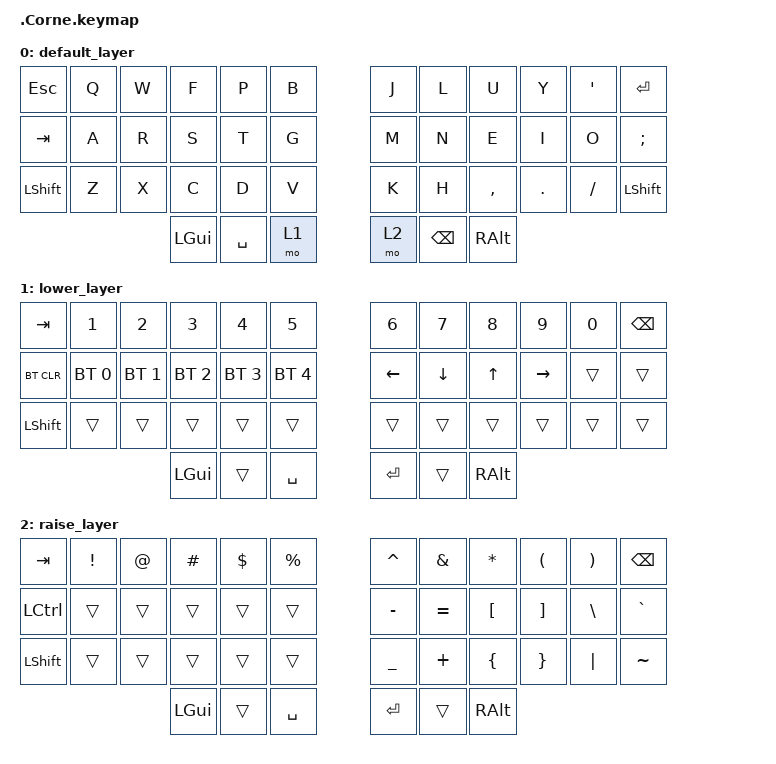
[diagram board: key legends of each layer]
/*
 * Copyright (c) 2020 The ZMK Contributors
 *
 * SPDX-License-Identifier: MIT
 */

#include <behaviors.dtsi>
#include <dt-bindings/zmk/keys.h>
#include <dt-bindings/zmk/bt.h>
#include <dt-bindings/zmk/behaviors.h>

/ {
        keymap {
                compatible = "zmk,keymap";

                default_layer {
// -----------------------------------------------------------------------------------------
// |  TAB |   Q    |   W    |   F    |   P    |  B  |   |  J  |   L     |   U    |   Y    |   '    | BSPC |
// | CTRL |   A    |   R    |   S    |   T    |  G  |   |  M  |   N     |   E    |   I    |   O    |  ;   |
// | SHFT |  G(Z)  |  A(X)  |  C(C)  |  S(D)  |  V  |   |  K  |  S(H)   |  C(,)  |  A(.)  |  G(/)  | ESC  |
//                                | GUI | SPC | LWR |   | RSE | BSPC  | ALT |
                        bindings = <
   &kp ESC   &kp Q  &kp W  &kp F  &kp P  &kp B   &kp J &kp L   &kp U      &kp Y    &kp SQT   &kp ENTER
   &kp TAB   &kp A  &kp R  &kp S  &kp T  &kp G   &kp M &kp N   &kp E      &kp I    &kp O     &kp SEMI
   &kp LSHFT &kp Z  &kp X  &kp C  &kp D  &kp V   &kp K &kp H   &kp COMMA  &kp DOT  &kp FSLH  &kp LSHFT
                      &kp LGUI &kp SPACE &mo 1   &mo 2 &kp BSPC &kp RALT
                        >;
                };
                lower_layer {
// -----------------------------------------------------------------------------------------
// |  TAB |  1  |  2  |  3  |  4  |  5  |   |  6  |  7  |  8  |  9  |  0  | BSPC |
// | BTCLR| BT1 | BT2 | BT3 | BT4 | BT5 |   | LFT | DWN |  UP | RGT |     |      |
// | SHFT |     |     |     |     |     |   |     |     |     |     |     |      |
//                    | GUI |     | SPC |   | ENT |     | ALT |
                        bindings = <
   &kp TAB    &kp N1       &kp N2       &kp N3       &kp N4       &kp N5         &kp N6   &kp N7   &kp N8 &kp N9    &kp N0 &kp BSPC
   &bt BT_CLR &bt BT_SEL 0 &bt BT_SEL 1 &bt BT_SEL 2 &bt BT_SEL 3 &bt BT_SEL 4   &kp LEFT &kp DOWN &kp UP &kp RIGHT &trans &trans
   &kp LSHFT  &trans       &trans       &trans       &trans       &trans         &trans   &trans   &trans &trans    &trans &trans
                                    &kp LGUI     &trans       &kp SPACE      &kp RET  &trans   &kp RALT
                        >;
                };

                raise_layer {
// -----------------------------------------------------------------------------------------
// |  TAB |  !  |  @  |  #  |  $  |  %  |   |  ^  |  &  |  *  |  (  |  )  | BSPC |
// | CTRL |     |     |     |     |     |   |  -  |  =  |  [  |  ]  |  \  |  `   |
// | SHFT |     |     |     |     |     |   |  _  |  +  |  {  |  }  | "|" |  ~   |
//                    | GUI |     | SPC |   | ENT |     | ALT |
                        bindings = <
   &kp  TAB  &kp EXCL &kp AT &kp HASH &kp DLLR &kp PRCNT   &kp CARET &kp AMPS  &kp ASTRK &kp LPAR &kp RPAR &kp BSPC
   &kp LCTRL &trans   &trans &trans   &trans   &trans      &kp MINUS &kp EQUAL &kp LBKT  &kp RBKT &kp BSLH &kp GRAVE
   &kp LSHFT &trans   &trans &trans   &trans   &trans      &kp UNDER &kp PLUS  &kp LBRC  &kp RBRC &kp PIPE &kp TILDE
                             &kp LGUI &trans   &kp SPACE   &kp RET   &trans    &kp RALT
                        >;
                };
        };
};
